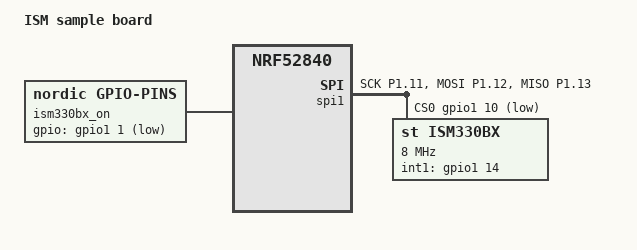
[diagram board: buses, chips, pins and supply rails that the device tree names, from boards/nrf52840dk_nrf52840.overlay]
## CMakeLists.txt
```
# SPDX-License-Identifier: Apache-2.0

cmake_minimum_required(VERSION 3.20.0)
find_package(Zephyr REQUIRED HINTS $ENV{ZEPHYR_BASE})
project(ism330bx)

FILE(GLOB app_sources src/*.c)
target_sources(app PRIVATE ${app_sources})
```

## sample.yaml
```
sample:
  name: ISM330BX accelerometer and gyrometer sensor
tests:
  sample.sensor.ism330bx:
    sysbuild: true
    harness: console
    tags: sensors
    depends_on: ism330bx
    platform_allow:
      - nrf52840dk/nrf52840
    timeout: 15
    harness_config:
      type: multi_line
      ordered: true
      regex:
        - "accel x:[-.0-9]* ms/2 y:[-.0-9]* ms/2 z:[-.0-9]* ms/2"
        - "gyro x:[-.0-9]* dps y:[-.0-9]* dps z:[-.0-9]* dps"
        - "loop:[0-9]* trig_cnt:[0-9]*"
    extra_args:
      - OVERLAY_CONFIG="debug.conf;"
```

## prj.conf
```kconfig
CONFIG_PRINTK=y
CONFIG_GPIO=y
CONFIG_STDOUT_CONSOLE=y
CONFIG_SPI=y
CONFIG_SENSOR=y

CONFIG_PM_DEVICE=y
CONFIG_PM_DEVICE_RUNTIME=y # Requires for setting the ISM driver as suspended

CONFIG_ISM330BX=y
CONFIG_ISM330BX_TRIGGER_OWN_THREAD=y
# CONFIG_ISM330BX_GYRO_DRDY_TRIGGER=y
CONFIG_ISM330BX_ENABLE_TEMP=y
```

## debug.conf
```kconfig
# ==========================================#
#                                           #
#               DEBUG CONFIG                #
# ==========================================#
CONFIG_LOG=y
CONFIG_USE_SEGGER_RTT=y
CONFIG_LOG_BACKEND_RTT=y

# Add debug information to the firmware image
# CONFIG_DEBUG_INFO=y
CONFIG_DEBUG_THREAD_INFO=y
CONFIG_DEBUG_OPTIMIZATIONS=y


# ISM330BX logging level
CONFIG_ISM330BX_LOG_LEVEL_DBG=y
CONFIG_CBPRINTF_FP_SUPPORT=y
```

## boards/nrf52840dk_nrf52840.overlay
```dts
#include <zephyr/dt-bindings/sensor/ism330bx.h>
// /home/gal/dev/ism330bx_driver_contribution/zephyr/include/zephyr/dt-bindings/sensor/ism330bx.h
/ {
	model = "ISM sample board";

	ism330bx_on: ism330bx-on {
                compatible = "nordic,gpio-pins";
                gpios = <&gpio1 1 GPIO_ACTIVE_LOW>;
                status = "okay";
        };
};


&gpio1 {
  status = "okay";
};



&spi1 {
	status = "okay";
	pinctrl-0 = <&ism330bx_default>;
	pinctrl-1 = <&ism330bx_sleep>;
	pinctrl-names = "default", "sleep";
	compatible = "nordic,nrf-spim";
	cs-gpios = <&gpio1 10 GPIO_ACTIVE_LOW>;
	ism330bx@0 {
		compatible = "st,ism330bx";
		reg = <0>;
        accel-range = <ISM330BX_ACCL_DT_FS_2G>;
      	accel-odr = <ISM330BX_ACCL_DT_ODR_OFF>;
      	gyro-range = <ISM330BX_GYRO_DT_FS_125DPS>;
      	gyro-odr = <ISM330BX_GYRO_DT_ODR_OFF>;

		int1-gpios = <&gpio1 14 (GPIO_ACTIVE_HIGH | GPIO_PULL_DOWN)>;
		// int2-gpios = <&gpio1 5 (GPIO_ACTIVE_HIGH | GPIO_PULL_DOWN)>; // TODO: Disable this pin in the driver init()
		// power_resources = <&ism330bx_on>;
		spi-max-frequency = <8000000>;
	};
};




&pinctrl { 
    // ism330bx
    ism330bx_default: ism330bx_default {
        group1 {
            psels = <NRF_PSEL(SPIM_SCK, 1, 11)>,
                    <NRF_PSEL(SPIM_MOSI, 1, 12)>,
                    <NRF_PSEL(SPIM_MISO, 1, 13)>;
        };
    };

    ism330bx_sleep: ism330bx_sleep {
        group1 {
            psels = <NRF_PSEL(SPIM_SCK, 1, 11)>,
                    <NRF_PSEL(SPIM_MOSI, 1, 12)>,
                    <NRF_PSEL(SPIM_MISO, 1, 13)>;
            low-power-enable;
        };
    }; 
};
```

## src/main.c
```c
/*
 * Copyright (c) 2018 STMicroelectronics
 *
 * SPDX-License-Identifier: Apache-2.0
 */

#include <zephyr/kernel.h>
#include <zephyr/drivers/gpio.h>
#include <zephyr/device.h>
#include <zephyr/drivers/sensor.h>
#include <stdio.h>
#include <zephyr/sys/util.h>

static int print_samples;
static int ism330bx_trig_cnt;

static struct sensor_value accel_x_out, accel_y_out, accel_z_out;
static struct sensor_value gyro_x_out, gyro_y_out, gyro_z_out;
// #if defined(CONFIG_LSM6DSL_EXT0_LIS2MDL)
// static struct sensor_value magn_x_out, magn_y_out, magn_z_out;
// #endif
// #if defined(CONFIG_LSM6DSL_EXT0_LPS22HB)
// static struct sensor_value press_out, temp_out;
// #endif

#ifdef CONFIG_ISM330BX_TRIGGER
static void ism330bx_trigger_handler(const struct device *dev, const struct sensor_trigger *trig)
{
	static struct sensor_value accel_x, accel_y, accel_z;
	static struct sensor_value gyro_x, gyro_y, gyro_z;
#if defined(CONFIG_LSM6DSL_EXT0_LIS2MDL)
	static struct sensor_value magn_x, magn_y, magn_z;
#endif
#if defined(CONFIG_LSM6DSL_EXT0_LPS22HB)
	static struct sensor_value press, temp;
#endif
	ism330bx_trig_cnt++;

	sensor_sample_fetch_chan(dev, SENSOR_CHAN_ACCEL_XYZ);
	sensor_channel_get(dev, SENSOR_CHAN_ACCEL_X, &accel_x);
	sensor_channel_get(dev, SENSOR_CHAN_ACCEL_Y, &accel_y);
	sensor_channel_get(dev, SENSOR_CHAN_ACCEL_Z, &accel_z);

	/* ism330bx gyro */
	sensor_sample_fetch_chan(dev, SENSOR_CHAN_GYRO_XYZ);
	sensor_channel_get(dev, SENSOR_CHAN_GYRO_X, &gyro_x);
	sensor_channel_get(dev, SENSOR_CHAN_GYRO_Y, &gyro_y);
	sensor_channel_get(dev, SENSOR_CHAN_GYRO_Z, &gyro_z);

#if defined(CONFIG_LSM6DSL_EXT0_LIS2MDL)
	/* ism330bx external mag */
	sensor_sample_fetch_chan(dev, SENSOR_CHAN_MAGN_XYZ);
	sensor_channel_get(dev, SENSOR_CHAN_MAGN_X, &magn_x);
	sensor_channel_get(dev, SENSOR_CHAN_MAGN_Y, &magn_y);
	sensor_channel_get(dev, SENSOR_CHAN_MAGN_Z, &magn_z);
#endif

#if defined(CONFIG_LSM6DSL_EXT0_LPS22HB)
	/* ism330bx external press/temp */
	sensor_sample_fetch_chan(dev, SENSOR_CHAN_PRESS);
	sensor_channel_get(dev, SENSOR_CHAN_PRESS, &press);

	sensor_sample_fetch_chan(dev, SENSOR_CHAN_AMBIENT_TEMP);
	sensor_channel_get(dev, SENSOR_CHAN_AMBIENT_TEMP, &temp);
#endif

	if (print_samples) {
		print_samples = 0;

		accel_x_out = accel_x;
		accel_y_out = accel_y;
		accel_z_out = accel_z;

		gyro_x_out = gyro_x;
		gyro_y_out = gyro_y;
		gyro_z_out = gyro_z;

#if defined(CONFIG_LSM6DSL_EXT0_LIS2MDL)
		magn_x_out = magn_x;
		magn_y_out = magn_y;
		magn_z_out = magn_z;
#endif

#if defined(CONFIG_LSM6DSL_EXT0_LPS22HB)
		press_out = press;
		temp_out = temp;
#endif
	}
}
#endif

int main(void)
{
	int cnt = 0;
	char out_str[64];
	struct sensor_value odr_attr;
	const struct device *const ism330bx_dev = DEVICE_DT_GET_ONE(st_ism330bx);

	if (!device_is_ready(ism330bx_dev)) {
		printk("sensor: device not ready.\n");
		return 0;
	}

	static const struct gpio_dt_spec ism330bx_power =
		GPIO_DT_SPEC_GET_OR(DT_NODELABEL(ism330bx_on), gpios, {0});
	if (!device_is_ready(ism330bx_power.port)) {
		printk("power: device not ready.\n");
		return 0;
	}
	gpio_pin_configure_dt(&ism330bx_power, GPIO_OUTPUT_INACTIVE);
	int ret = gpio_pin_set_dt(&ism330bx_power, 0);
	if (ret < 0) {
		printk("Error %d: Failed to set pin %d to high\n", ret, ism330bx_power.pin);
		// Handle error
	} else {
		printk("Successfully set pin %d to high (1)\n", ism330bx_power.pin);
	}
	/* set accel/gyro sampling frequency to 60 Hz */
	odr_attr.val1 = 60;
	odr_attr.val2 = 0;

	if (sensor_attr_set(ism330bx_dev, SENSOR_CHAN_ACCEL_XYZ, SENSOR_ATTR_SAMPLING_FREQUENCY,
			    &odr_attr) < 0) {
		printk("Cannot set sampling frequency for accelerometer.\n");
		return 0;
	}

	if (sensor_attr_set(ism330bx_dev, SENSOR_CHAN_GYRO_XYZ, SENSOR_ATTR_SAMPLING_FREQUENCY,
			    &odr_attr) < 0) {
		printk("Cannot set sampling frequency for gyro.\n");
		return 0;
	}

#ifdef CONFIG_ISM330BX_TRIGGER
	struct sensor_trigger trig;

	trig.type = SENSOR_TRIG_DATA_READY;
	trig.chan = SENSOR_CHAN_ACCEL_XYZ;

	if (sensor_trigger_set(ism330bx_dev, &trig, ism330bx_trigger_handler) != 0) {
		printk("Could not set sensor type and channel\n");
		return 0;
	}
#endif

	if (sensor_sample_fetch(ism330bx_dev) < 0) {
		printk("Sensor sample update error\n");
		return 0;
	}

	while (1) {
		/* Erase previous */
		printk("\0033\014");
		printf("ISM330BX sensor samples:\n\n");

		/* ism330bx accel */
		sprintf(out_str, "accel x:%f ms/2 y:%f ms/2 z:%f ms/2",
			sensor_value_to_double(&accel_x_out), sensor_value_to_double(&accel_y_out),
			sensor_value_to_double(&accel_z_out));
		printk("%s\n", out_str);

		/* ism330bx gyro */
		sprintf(out_str, "gyro x:%f dps y:%f dps z:%f dps",
			sensor_value_to_double(&gyro_x_out), sensor_value_to_double(&gyro_y_out),
			sensor_value_to_double(&gyro_z_out));
		printk("%s\n", out_str);

#if defined(CONFIG_LSM6DSL_EXT0_LIS2MDL)
		/* ism330bx external magn */
		sprintf(out_str, "magn x:%f gauss y:%f gauss z:%f gauss",
			sensor_value_to_double(&magn_x_out), sensor_value_to_double(&magn_y_out),
			sensor_value_to_double(&magn_z_out));
		printk("%s\n", out_str);
#endif

#if defined(CONFIG_LSM6DSL_EXT0_LPS22HB)
		/* ism330bx external press/temp */
		sprintf(out_str, "press: %f kPa - temp: %f deg", sensor_value_to_double(&press_out),
			sensor_value_to_double(&temp_out));
		printk("%s\n", out_str);
#endif

		printk("loop:%d trig_cnt:%d\n\n", ++cnt, ism330bx_trig_cnt);

		print_samples = 1;
		k_sleep(K_MSEC(2000));
	}
}
```
